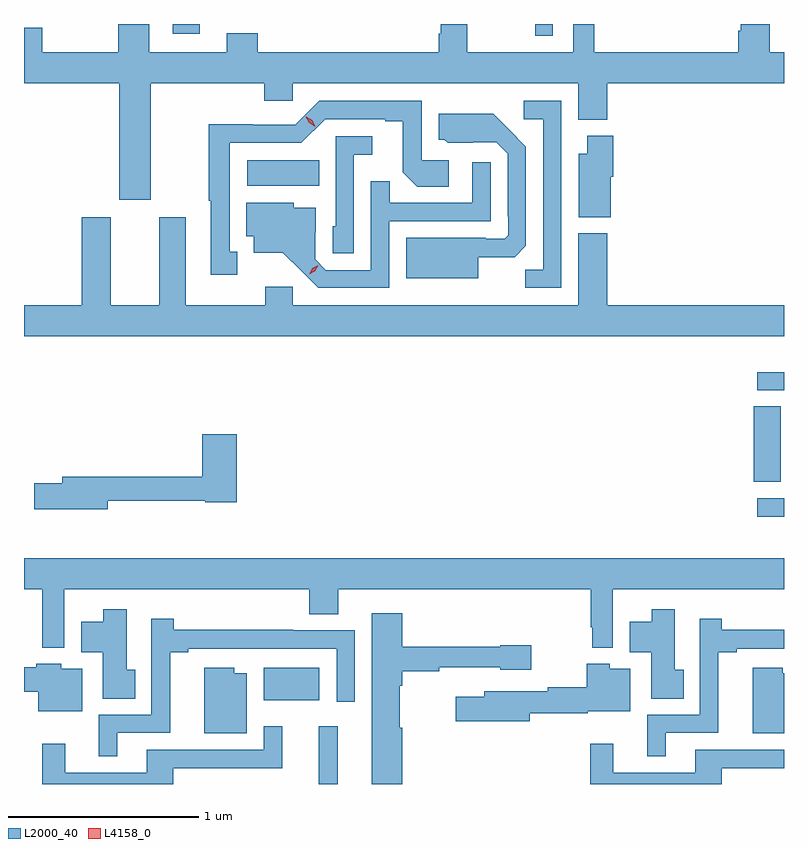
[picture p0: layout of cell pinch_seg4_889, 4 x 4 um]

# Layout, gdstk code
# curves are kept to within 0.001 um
import gdstk
lib = gdstk.Library(unit=1e-6, precision=1e-09)
def R(c, l, rs):  # rectangles x0, y0, x1, y1
    for r in rs: c.add(gdstk.rectangle(r[:2], r[2:], *l))
def P(c, l, *ps):  # polygons
    for p in ps: c.add(gdstk.Polygon(p, *l))
L2000_40 = (2000, 40)
L4158_0 = (4158, 0)

pinch_seg4_889 = lib.new_cell('pinch_seg4_889')
R(pinch_seg4_889, L2000_40, [(734.267,823.768,734.366,824.071), (733.976,824.21,734.269,824.38), (736.575,825.175,736.715,825.273), (736.556,825.358,736.699,825.755), (736.575,825.84,736.715,825.936), (733.89,826.916,734.27,827.05), (735.405,827.705,735.498,827.768), (733.499,827.718,733.639,827.768)])
P(pinch_seg4_889, L2000_40, [(735.632,827.264),(735.785,827.264),(735.785,827.456),(736.715,827.456),(736.715,827.62),(736.639,827.62),(736.639,827.768),(736.487,827.768),(736.487,827.733),(736.475,827.733),(736.475,827.62),(735.715,827.62),(735.715,827.768),(735.606,827.768),(735.606,827.62),(735.049,827.62),(735.049,827.768),(734.909,827.768),(734.909,827.716),(734.897,827.716),(734.897,827.62),(733.945,827.62),(733.945,827.719),(733.781,827.719),(733.781,827.62),(733.375,827.62),(733.375,827.768),(733.211,827.768),(733.211,827.62),(732.811,827.62),(732.811,827.749),(732.715,827.749),(732.715,827.456),(733.217,827.456),(733.217,826.842),(733.381,826.842),(733.381,827.456),(733.979,827.456),(733.979,827.363),(734.13,827.363),(734.13,827.456),(735.632,827.456)],
  [(733.837,826.569),(733.798,826.569),(733.798,827.142),(734.175,827.142),(734.301,827.268),(734.615,827.268),(734.615,827.256),(734.709,827.256),(734.709,826.988),(734.785,826.912),(734.95,826.912),(734.95,827.052),(734.808,827.052),(734.808,827.364),(734.268,827.364),(734.142,827.238),(733.92,827.238),(733.92,827.24),(733.687,827.24),(733.687,826.837),(733.697,826.837),(733.697,826.449),(733.837,826.449)],
  [(735.543,827.364),(735.345,827.364),(735.345,827.268),(735.447,827.268),(735.447,826.475),(735.352,826.475),(735.352,826.38),(735.543,826.38)],
  [(735.106,826.541),(735.298,826.541),(735.357,826.6),(735.357,827.122),(735.185,827.296),(734.897,827.296),(734.897,827.16),(734.928,827.16),(734.944,827.144),(735.201,827.145),(735.261,827.085),(735.261,826.756),(735.264,826.756),(735.264,826.656),(735.246,826.638),(735.146,826.638),(735.146,826.642),(734.726,826.642),(734.726,826.43),(735.106,826.43)],
  [(735.802,826.965),(735.815,826.965),(735.815,827.179),(735.68,827.179),(735.68,827.086),(735.635,827.086),(735.635,826.751),(735.802,826.751)],
  [(734.451,827.081),(734.548,827.081),(734.548,827.178),(734.355,827.178),(734.355,826.704),(734.34,826.704),(734.34,826.561),(734.451,826.561)],
  [(734.637,826.731),(735.171,826.731),(735.171,827.041),(735.075,827.041),(735.075,826.827),(734.639,826.827),(734.639,826.94),(734.541,826.94),(734.541,826.473),(734.304,826.473),(734.247,826.53),(734.247,826.672),(734.251,826.672),(734.251,826.801),(734.136,826.801),(734.136,826.828),(733.886,826.828),(733.886,826.652),(733.925,826.652),(733.925,826.565),(734.077,826.565),(734.264,826.38),(734.637,826.38)],
  [(736.715,826.288),(735.785,826.288),(735.785,826.666),(735.632,826.666),(735.632,826.288),(734.13,826.288),(734.13,826.384),(733.984,826.384),(733.984,826.288),(733.567,826.288),(733.567,826.75),(733.427,826.75),(733.427,826.288),(733.171,826.288),(733.171,826.75),(733.019,826.75),(733.019,826.288),(732.715,826.288),(732.715,826.124),(736.715,826.124)],
  [(733.156,825.258),(733.668,825.258),(733.668,825.25),(733.835,825.25),(733.835,825.61),(733.652,825.61),(733.652,825.386),(732.917,825.386),(732.917,825.35),(732.768,825.35),(732.768,825.215),(733.156,825.215)],
  [(732.927,824.792),(734.216,824.792),(734.216,824.662),(734.368,824.662),(734.368,824.792),(735.697,824.792),(735.697,824.593),(735.705,824.593),(735.705,824.486),(735.813,824.486),(735.813,824.792),(736.715,824.792),(736.715,824.956),(732.715,824.956),(732.715,824.792),(732.811,824.792),(732.811,824.486),(732.927,824.486)],
  [(736.187,824.37),(736.141,824.37),(736.141,824.689),(736.019,824.689),(736.019,824.623),(735.902,824.623),(735.902,824.462),(736.016,824.462),(736.016,824.218),(736.187,824.218)],
  [(733.301,824.37),(733.255,824.37),(733.255,824.689),(733.133,824.689),(733.133,824.623),(733.016,824.623),(733.016,824.462),(733.13,824.462),(733.13,824.218),(733.301,824.218)],
  [(734.705,824.063),(734.692,824.063),(734.692,824.285),(734.705,824.285),(734.705,824.362),(734.9,824.362),(734.9,824.382),(735.222,824.382),(735.222,824.369),(735.385,824.369),(735.385,824.499),(735.222,824.499),(735.222,824.491),(734.705,824.491),(734.705,824.668),(734.546,824.668),(734.546,823.768),(734.705,823.768)],
  [(736.093,824.037),(736.37,824.037),(736.37,824.461),(736.465,824.461),(736.465,824.481),(736.715,824.481),(736.715,824.579),(736.388,824.579),(736.388,824.638),(736.272,824.638),(736.272,824.133),(735.995,824.133),(735.995,823.913),(736.093,823.913)],
  [(733.207,824.037),(733.484,824.037),(733.484,824.461),(733.579,824.461),(733.579,824.481),(734.361,824.481),(734.361,824.202),(734.457,824.202),(734.457,824.577),(734.132,824.577),(734.132,824.579),(733.502,824.579),(733.502,824.638),(733.386,824.638),(733.386,824.133),(733.109,824.133),(733.109,823.913),(733.207,823.913)],
  [(733.021,824.374),(732.912,824.374),(732.912,824.401),(732.779,824.401),(732.779,824.383),(732.715,824.383),(732.715,824.254),(732.791,824.254),(732.791,824.15),(733.021,824.15)],
  [(735.376,824.14),(735.681,824.14),(735.681,824.15),(735.907,824.15),(735.907,824.374),(735.798,824.374),(735.798,824.401),(735.677,824.401),(735.677,824.276),(735.472,824.276),(735.472,824.256),(735.137,824.256),(735.137,824.227),(734.988,824.227),(734.988,824.098),(735.376,824.098)],
  [(733.888,824.35),(733.822,824.35),(733.822,824.38),(733.664,824.38),(733.664,824.036),(733.888,824.036)],
  [(736.715,824.35),(736.708,824.35),(736.708,824.38),(736.55,824.38),(736.55,824.036),(736.715,824.036)],
  [(733.501,823.851),(734.075,823.851),(734.075,824.071),(733.977,824.071),(733.977,823.947),(733.361,823.947),(733.361,823.828),(732.931,823.828),(732.931,823.981),(732.81,823.981),(732.81,823.768),(733.501,823.768)],
  [(736.387,823.851),(736.715,823.851),(736.715,823.947),(736.247,823.947),(736.247,823.828),(735.817,823.828),(735.817,823.981),(735.696,823.981),(735.696,823.768),(736.387,823.768)])
P(pinch_seg4_889, L4158_0, [(734.248,827.228),(734.216,827.248),(734.199,827.28),(734.199,827.281),(734.2,827.281),(734.231,827.261),(734.248,827.229),(734.248,827.228)],
  [(734.215,826.452),(734.215,826.452),(734.232,826.482),(734.263,826.498),(734.263,826.498),(734.263,826.497),(734.246,826.468),(734.216,826.452)])

lib.write_gds('pinch_seg4_889.gds')
